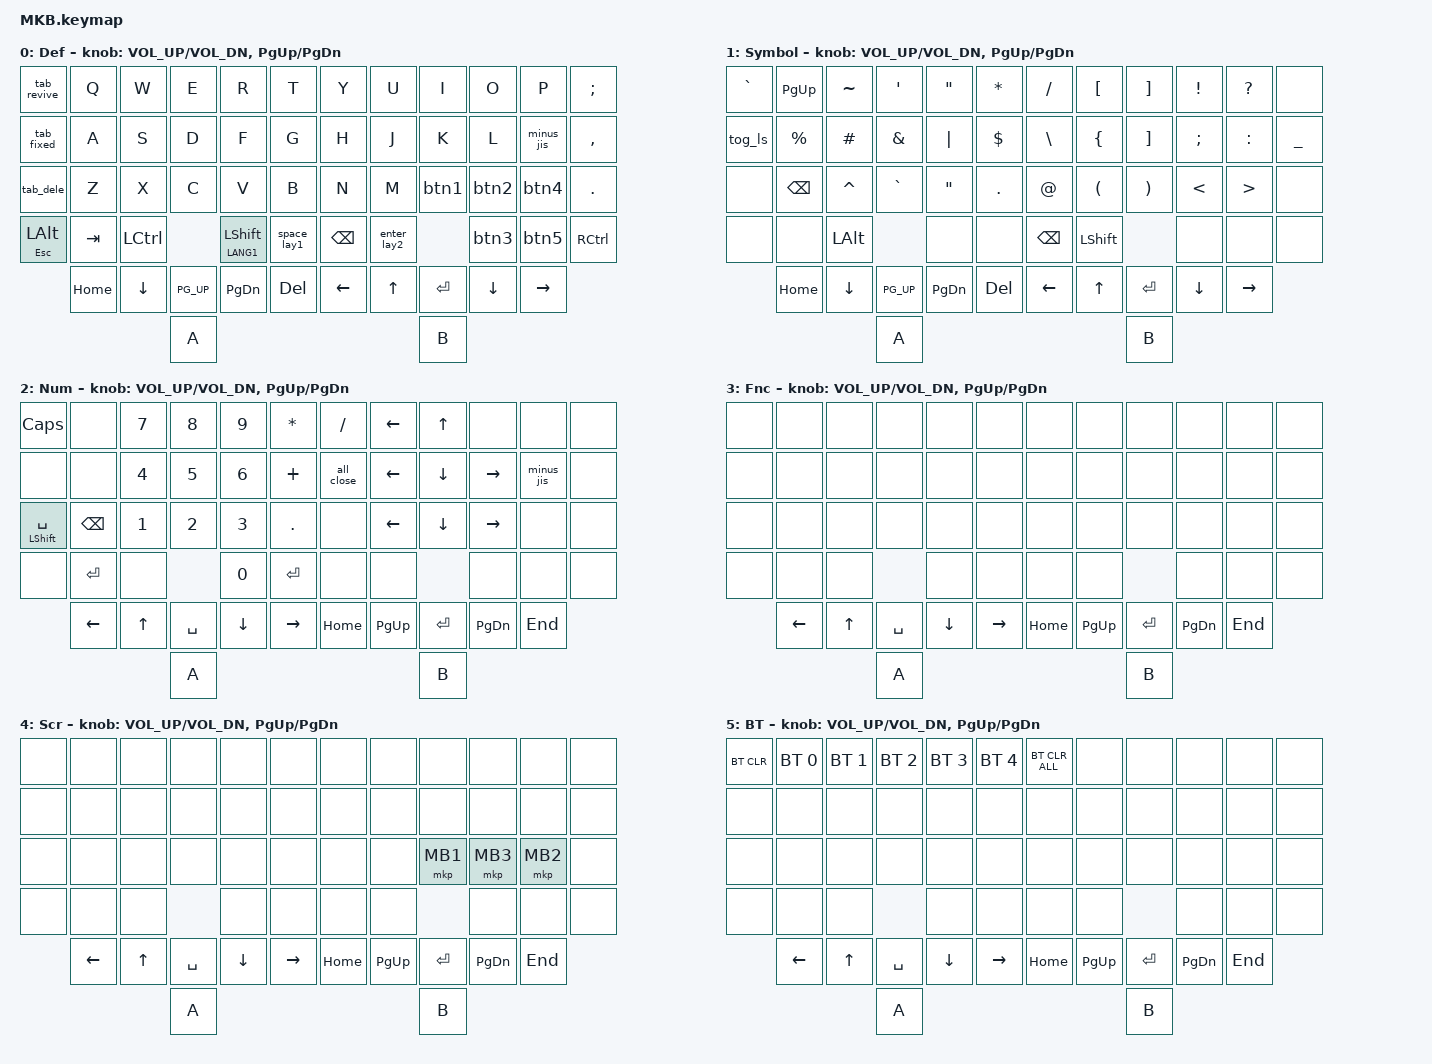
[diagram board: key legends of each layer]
// #include <layout_shift.dtsi>

#include <behaviors.dtsi>
#include <dt-bindings/zmk/bt.h>
#include <dt-bindings/zmk/keys.h>
#include <dt-bindings/zmk/pointing.h>
#include <layout_shift_kp_override.dtsi>

#define DEF 0
#define SYMBOL 1
#define NUM 2
#define FNC 3
#define SCROLL 4
#define BT 5

#define HOLDTAP_TIMEOUT 200
#define HOLDTAP_QUICK   100

&mt {
    flavor = "balanced";
    tapping-term-ms = <280>;
    quick-tap-ms = <175>;
    require-prior-idle-ms = <150>;
};

/{
    behaviors{
        minus_jis: minus_jis_macro{
            compatible = "zmk,behavior-mod-morph";
            label="MINUS_JIS";
            bindings = <&kp MINUS> m<&kp EQUAL>;
            mods = <(MOD_LSFT|MOD_RSFT)>;
        };

        tab_fixed:tab_fixed{
            compatible = "zmk,behavior-mod-morph";
            label = "TAB_FIXED";
            bindings = <&kp A>;
            mods = <MOD_LALT>;
        };

        tab_revive:tab_revive{
            compatible = "zmk,behavior-mod-morph";
            label = "TAB_RIVEVE";
            bindings = <&kp T>;
            mods = <(MOD_LCTRL | MOD_LSFT)>;
        };

        tab_dele:tab_dele{
            compatible = "zmk,behavior-mod-morph";
            label = "TAB_DELE";
            bindings = <&kp L>;
            mods = <(MOD_LCTRL)>;
        };

        all_close:all_close{
            compatible = "zmk,behavior-mod-morph";
            label = "ALL_CLOSE";
            bindings = <&kp D>;
            mods = <(MOD_LGUI)>;
        };

        enter_lay2: enter_lay2{
            compatible = "zmk,behavior-hold-tap";
            bindings = <&lt NUM ENTER &mo 2>;
            timeout-ms = <HOLDTAP_TIMEOUT>;
            quick-tap-ms = <HOLDTAP_QUICK>;
        };    

        space_lay1:space_lay1{
            compatible = "zmk,behavior-hold-tap";
            bindings = <&lt NUM SPACE &mo 1>;
            timeout-ms = <HOLDTAP_TIMEOUT>;
            quick-tap-ms = <HOLDTAP_QUICK>;
        };
            esc_alt:esc_alt{
            compatible = "zmk,behavior-hold-tap";
            bindings = <&kp ESC &kp LALT>;
            timeout-ms = <HOLDTAP_TIMEOUT>;
            quick-tap-ms = <HOLDTAP_QUICK>;
        };
    }
}

/ {
    keymap {
        compatible = "zmk,keymap";

        default_layer {
            label = "Def";
            bindings = <
&tab_revive   &kp Q     &kp W      &kp E     &kp R           &kp T               &kp Y           &kp U          &kp I      &kp O      &kp P           &kp SEMI
&tab_fixed    &kp A     &kp S      &kp D     &kp F           &kp G               &kp H           &kp J          &kp K      &kp L      &minus_jis      &kp COMMA
&tab_dele     &kp Z     &kp X      &kp C     &kp V           &kp B               &kp N           &kp M          &btn1      &btn2      &btn4           &kp DOT
&mt ESC LALT  &kp TAB   &kp LCTL             &mt LANG1 LSHFT &space_lay1         &kp BKSP        &enter_lay2               &btn3      &btn5           &kp RCTL

              &kp HOME  &kp DOWN  &PG_UP     &kp PG_DN       &kp DEL             &kp LEFT        &kp UP         &kp ENTER  &kp DOWN   &kp RIGHT
                                   &kp A                                                                       &kp B
            >;

            sensor-bindings = <&inc_dec_kp C_VOL_UP C_VOL_DN &inc_dec_kp PG_UP PG_DN>;
        };

        function_layer {
            label = "Symbol";
            bindings = <
&kp GRAVE  &kp PG_UP  &kp TILDE  &kp APOS  &kp DQT   &kp STAR                 &kp FSLH     &kp LBKT     &kp RBKT     &kp EXCL     &kp QMARK    &none
&tog_ls    &kp PRCNT  &kp HASH   &kp AMPS  &kp PIPE  &kp DLLR                 &kp BSLH     &kp LBRC     &kp RBKT     &kp SEMI     &kp COLON    &kp UNDER
&none      &kp BKSP   &kp CARET  &kp GRAVE &kp DQT   &kp DOT                  &kp AT       &kp LPAR     &kp RPAR     &kp LT       &kp GT       &none
&none      &none      &kp LALT             &none     &none                    &kp BKSP     &kp LSHFT                 &none        &none        &none

           &kp HOME   &kp DOWN   &PG_UP    &kp PG_DN &kp DEL                  &kp LEFT     &kp UP       &kp ENTER    &kp DOWN     &kp RIGHT
                                 &kp A                                                                  &kp B
            >;

            sensor-bindings = <&inc_dec_kp C_VOL_UP C_VOL_DN &inc_dec_kp PG_UP PG_DN>;
        };

        num_layer {
            label = "Num";
            bindings = <
&kp CAPS        &none          &kp N7     &kp N8    &kp N9     &kp STAR       &kp FSLH   &kp LEFT   &kp UP     &none      &none      &none
&none           &none          &kp N4     &kp N5    &kp N6     &kp PLUS       &all_close &kp LEFT   &kp DOWN   &kp RIGHT  &minus_jis &none
&mt LSHFT SPACE &kp BACKSPACE  &kp N1     &kp N2    &kp N3     &kp DOT        &none      &kp LEFT   &kp DOWN   &kp RIGHT  &none      &none
&none           &kp ENTER      &none                &kp N0     &kp ENTER      &none      &none                 &none      &none      &none

&kp LEFT        &kp UP         &kp SPACE  &kp DOWN  &kp RIGHT                            &kp HOME   &kp PG_UP  &kp ENTER  &kp PG_DN  &kp END
                                           &kp A                                                     &kp B
            >;

            sensor-bindings = <&inc_dec_kp C_VOL_UP C_VOL_DN &inc_dec_kp PG_UP PG_DN>;
        };

        mouse_layer {
            label = "Fnc";
            bindings = <
&none    &none  &none     &none    &none     &none      &none  &none    &none     &none     &none     &none
&none    &none  &none     &none    &none     &none      &none  &none    &none     &none     &none     &none
&none    &none  &none     &none    &none     &none      &none  &none    &none     &none     &none     &none
&none    &none  &none              &none     &none      &none  &none              &none     &none     &none

&kp LEFT  &kp UP  &kp SPACE  &kp DOWN  &kp RIGHT                      &kp HOME  &kp PG_UP  &kp ENTER  &kp PG_DN  &kp END
                             &kp A                                              &kp B
            >;

            sensor-bindings = <&inc_dec_kp C_VOL_UP C_VOL_DN &inc_dec_kp PG_UP PG_DN>;
        };

        scroll_layer {
            label = "Scr";
            bindings = <
&none    &none  &none     &none    &none     &none      &none  &none    &none     &none     &none     &none
&none    &none  &none     &none    &none     &none      &none  &none    &none     &none     &none     &none
&none    &none  &none     &none    &none     &none      &none  &none    &mkp MB1  &mkp MB3  &mkp MB2  &none
&none    &none  &none              &none     &none      &none  &none              &none     &none     &none

&kp LEFT  &kp UP  &kp SPACE  &kp DOWN  &kp RIGHT                      &kp HOME  &kp PG_UP  &kp ENTER  &kp PG_DN  &kp END
                             &kp A                                              &kp B
            >;

            sensor-bindings = <&inc_dec_kp C_VOL_UP C_VOL_DN &inc_dec_kp PG_UP PG_DN>;
        };

        bt_layer {
            label = "BT";
            bindings = <
&bt BT_CLR &bt BT_SEL 0 &bt BT_SEL 1 &bt BT_SEL 2 &bt BT_SEL 3 &bt BT_SEL 4     &bt BT_CLR_ALL &none    &none     &none     &none     &none
&none      &none        &none        &none        &none        &none            &none          &none    &none     &none     &none     &none
&none      &none        &none        &none        &none        &none            &none          &none    &none     &none     &none     &none
&none      &none        &none                     &none        &none            &none          &none              &none     &none     &none

&kp LEFT    &kp UP        &kp SPACE     &kp DOWN      &kp RIGHT                                       &kp HOME  &kp PG_UP  &kp ENTER  &kp PG_DN  &kp END
                                        &kp A                                                                   &kp B
            >;

            sensor-bindings = <&inc_dec_kp C_VOL_UP C_VOL_DN &inc_dec_kp PG_UP PG_DN>;
        };
    };
};
